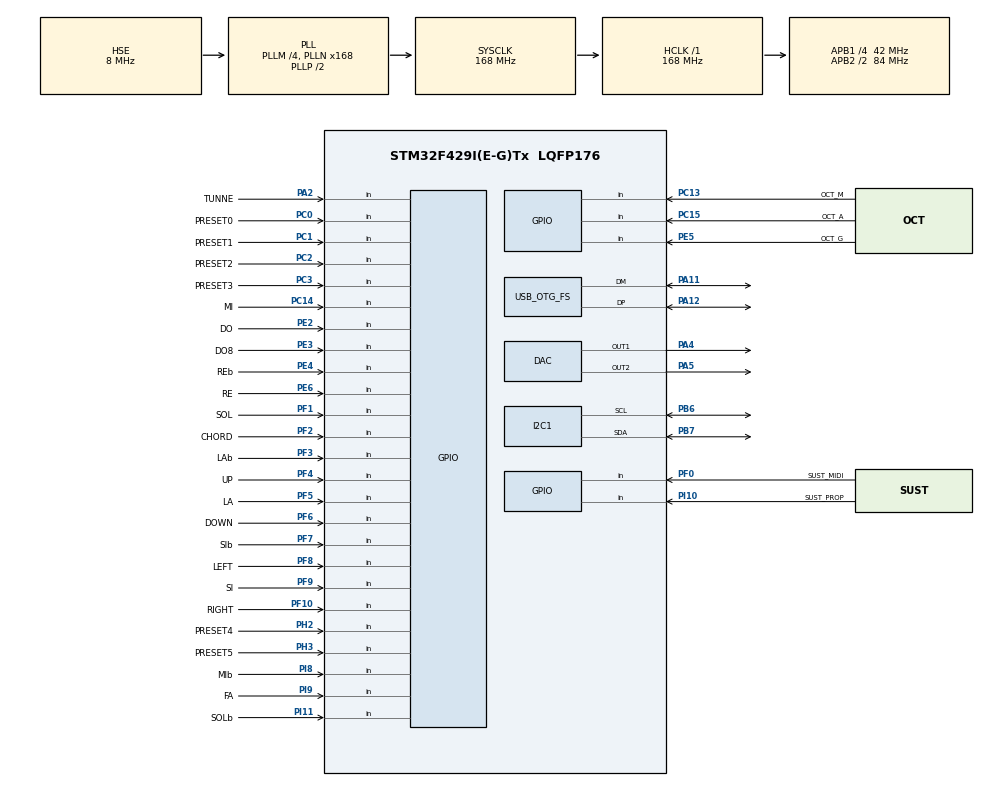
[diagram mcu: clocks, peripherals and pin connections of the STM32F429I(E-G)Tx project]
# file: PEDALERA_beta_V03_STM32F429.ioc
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I2C1.I2C_Mode=I2C_Fast
Mcu.Family=STM32F4
Mcu.Name=STM32F429I(E-G)Tx
Mcu.Package=LQFP176
Mcu.UserConstants=USE_USB_FS,1
NVIC.OTG_FS_IRQn=true\:0\:0\:false\:false\:true\:true\:true
NVIC.PriorityGroup=NVIC_PRIORITYGROUP_4
NVIC.TIM2_IRQn=true\:0\:0\:false\:false\:true\:true\:true
PA11.Mode=Device_Only
PA11.Signal=USB_OTG_FS_DM
PA12.Mode=Device_Only
PA12.Signal=USB_OTG_FS_DP
PA13.Mode=Serial_Wire
PA13.Signal=SYS_JTMS-SWDIO
PA14.Mode=Serial_Wire
PA14.Signal=SYS_JTCK-SWCLK
PA2.GPIO_Label=TUNNE
PA2.GPIO_PuPd=GPIO_PULLUP
PA2.Signal=GPIO_Input
PA4.Signal=COMP_DAC1_group
PA5.Signal=COMP_DAC2_group
PB6.Mode=I2C
PB6.Signal=I2C1_SCL
PB7.Mode=I2C
PB7.Signal=I2C1_SDA
PC0.GPIO_Label=PRESET0
PC0.GPIO_PuPd=GPIO_PULLUP
PC0.Signal=GPIO_Input
PC1.GPIO_Label=PRESET1
PC1.GPIO_PuPd=GPIO_PULLUP
PC1.Signal=GPIO_Input
PC13.GPIO_Label=OCT_M
PC13.GPIO_PuPd=GPIO_PULLUP
PC13.Signal=GPIO_Input
PC14/OSC32_IN.GPIO_Label=MI
PC14/OSC32_IN.GPIO_PuPd=GPIO_PULLUP
PC14/OSC32_IN.Signal=GPIO_Input
PC15/OSC32_OUT.GPIO_Label=OCT_A
PC15/OSC32_OUT.GPIO_PuPd=GPIO_PULLUP
PC15/OSC32_OUT.Signal=GPIO_Input
PC2.GPIO_Label=PRESET2
PC2.GPIO_PuPd=GPIO_PULLUP
PC2.Signal=GPIO_Input
PC3.GPIO_Label=PRESET3
PC3.GPIO_PuPd=GPIO_PULLUP
PC3.Signal=GPIO_Input
PE2.GPIO_Label=DO
PE2.GPIO_PuPd=GPIO_PULLUP
PE2.Signal=GPIO_Input
PE3.GPIO_Label=DO8
PE3.GPIO_PuPd=GPIO_PULLUP
PE3.Signal=GPIO_Input
PE4.GPIO_Label=REb
PE4.GPIO_PuPd=GPIO_PULLUP
PE4.Signal=GPIO_Input
PE5.GPIO_Label=OCT_G
PE5.GPIO_PuPd=GPIO_PULLUP
PE5.Signal=GPIO_Input
PE6.GPIO_Label=RE
PE6.GPIO_PuPd=GPIO_PULLUP
PE6.Signal=GPIO_Input
PF0.GPIO_Label=SUST_MIDI
PF0.GPIO_PuPd=GPIO_PULLUP
PF0.Signal=GPIO_Input
PF1.GPIO_Label=SOL
PF1.GPIO_PuPd=GPIO_PULLUP
PF1.Signal=GPIO_Input
PF10.GPIO_Label=RIGHT
PF10.GPIO_PuPd=GPIO_PULLUP
PF10.Signal=GPIO_Input
PF2.GPIO_Label=CHORD
PF2.GPIO_PuPd=GPIO_PULLUP
PF2.Signal=GPIO_Input
PF3.GPIO_Label=LAb
PF3.GPIO_PuPd=GPIO_PULLUP
PF3.Signal=GPIO_Input
PF4.GPIO_Label=UP
PF4.GPIO_PuPd=GPIO_PULLUP
PF4.Signal=GPIO_Input
PF5.GPIO_Label=LA
PF5.GPIO_PuPd=GPIO_PULLUP
PF5.Signal=GPIO_Input
PF6.GPIO_Label=DOWN
PF6.GPIO_PuPd=GPIO_PULLUP
PF6.Signal=GPIO_Input
PF7.GPIO_Label=SIb
PF7.GPIO_PuPd=GPIO_PULLUP
PF7.Signal=GPIO_Input
PF8.GPIO_Label=LEFT
PF8.GPIO_PuPd=GPIO_PULLUP
PF8.Signal=GPIO_Input
PF9.GPIO_Label=SI
PF9.GPIO_PuPd=GPIO_PULLUP
PF9.Signal=GPIO_Input
PH0/OSC_IN.Mode=HSE-External-Oscillator
PH0/OSC_IN.Signal=RCC_OSC_IN
PH1/OSC_OUT.Mode=HSE-External-Oscillator
PH1/OSC_OUT.Signal=RCC_OSC_OUT
PH2.GPIO_Label=PRESET4
PH2.GPIO_PuPd=GPIO_PULLUP
PH2.Signal=GPIO_Input
PH3.GPIO_Label=PRESET5
PH3.GPIO_PuPd=GPIO_PULLUP
PH3.Signal=GPIO_Input
PI10.GPIO_Label=SUST_PROP
PI10.GPIO_PuPd=GPIO_PULLUP
PI10.Signal=GPIO_Input
PI11.GPIO_Label=SOLb
PI11.GPIO_PuPd=GPIO_PULLUP
PI11.Signal=GPIO_Input
PI8.GPIO_Label=MIb
PI8.GPIO_PuPd=GPIO_PULLUP
PI8.Signal=GPIO_Input
PI9.GPIO_Label=FA
PI9.GPIO_PuPd=GPIO_PULLUP
PI9.Signal=GPIO_Input
ProjectManager.HeapSize=0x600
ProjectManager.StackSize=0x400
ProjectManager.TargetToolchain=STM32CubeIDE
RCC.48MHZClocksFreq_Value=48000000
RCC.AHBFreq_Value=168000000
RCC.APB1CLKDivider=RCC_HCLK_DIV4
RCC.APB1Freq_Value=42000000
RCC.APB1TimFreq_Value=84000000
RCC.APB2CLKDivider=RCC_HCLK_DIV2
RCC.APB2Freq_Value=84000000
RCC.APB2TimFreq_Value=168000000
RCC.CortexFreq_Value=168000000
RCC.HCLKFreq_Value=168000000
RCC.HSE_VALUE=8000000
RCC.HSI_VALUE=16000000
RCC.LSE_VALUE=32768
RCC.PLLM=4
RCC.PLLN=168
RCC.PLLQ=7
RCC.SYSCLKFreq_VALUE=168000000
RCC.SYSCLKSource=RCC_SYSCLKSOURCE_PLLCLK
RCC.VCOOutputFreq_Value=336000000
SH.COMP_DAC1_group.0=DAC_OUT1,DAC_OUT1
SH.COMP_DAC2_group.0=DAC_OUT2,DAC_OUT2
TIM2.Period=840-1
TIM2.Prescaler=100-1
USB_DEVICE.CLASS_NAME_FS=AUDIO
USB_DEVICE.CONFIGURATION_STRING_AUDIO_FS=MIDI Controller Config
USB_DEVICE.INTERFACE_STRING_AUDIO_FS=MIDI Controller Interface
USB_DEVICE.LANGID_STRING-AUDIO_FS=1040
USB_DEVICE.MANUFACTURER_STRING-AUDIO_FS=S&S Instrumentos
USB_DEVICE.PRODUCT_STRING_AUDIO_FS=S&S Instrumentos
USB_DEVICE.USBD_MAX_NUM_INTERFACES-AUDIO_FS=2
USB_DEVICE.VID-AUDIO_FS=2236
USB_DEVICE.VirtualMode-AUDIO_FS=Audio
USB_DEVICE.VirtualModeFS=Audio_FS
USB_OTG_FS.VirtualMode=Device_Only
VP_TIM2_VS_ClockSourceINT.Mode=Internal
VP_USB_DEVICE_VS_USB_DEVICE_AUDIO_FS.Mode=AUDIO_FS
board=custom

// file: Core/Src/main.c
/* USER CODE BEGIN Header */
/**
  ******************************************************************************
  * @file           : main.c
  * @brief          : Main program body
  ******************************************************************************
  * @attention
  *
  * <h2><center>&copy; Copyright (c) 2020 STMicroelectronics.
  * All rights reserved.</center></h2>
  *
  * This software component is licensed by ST under BSD 3-Clause license,
  * the "License"; You may not use this file except in compliance with the
  * License. You may obtain a copy of the License at:
  *                        opensource.org/licenses/BSD-3-Clause
  *
  ******************************************************************************
  */
/* USER CODE END Header */

#include "main.h"
#include "dac.h"
#include "i2c.h"
#include "tim.h"
#include "usb_device.h"
#include "gpio.h"

/* USER CODE BEGIN Includes */
#include "usbd_midi_if.h"
#include "SSpedalBPMFX.h"

#include "usbd_core.h"
/* USER CODE END Includes */

/* USER CODE BEGIN PTD */

typedef enum{
	NO_SCREEN,
	TURN_ON_SCREEN,
	PLEASE_WAIT_SCREEN,
	MAIN_SCREEN,
	CHORD_SCREEN,
	TUNNE_SCREEN,
	PRESET_SCREEN,
	RECUEST_FOOTKEY_SCREEN,
	POPUP_SAVED_CHORD,
	POPUP_OCTAVE,
	POPUP_SUSTAIN,
	POPUP_CANCEL,
}SCREEN_NUM;

typedef enum{
	NORMAL,
	SAVE_CHORD,
	SAVE_TUNNE,
}FOOTKEY_FUNC;

typedef enum{
	_DO,
	_REb,
	_RE,
	_MIb,
	_MI,
	_FA,
	_SOLb,
	_SOL,
	_LAb,
	_LA,
	_SIb,
	_SI,
	_DO8,
	_OCT_G,
	_OCT_M,
	_OCT_A,
	_SUST_PROP,
	_SUST_MIDI,
	_CHORD,
	_UP,
	_DOWN,
	_LEFT,
	_RIGHT,
	_ENTER,
	_PRESET0,
	_PRESET1,
	_PRESET2,
	_PRESET3,
	_PRESET4,
	_PRESET5,
	_TUNNE,
	STRUCT_LENGTH,
}BUTTON_T;

/* USER CODE END PTD */

/* USER CODE BEGIN PV */
unsigned long lastSendNote[] =  { 0,  0,  0,  0,  0,  0,  0,  0,  0,  0,  0,  0,  0};   // vector para apagar la ultima nota mandada por el pedal (salva el error del octavador)
unsigned long lastSustainNote = 0;		//

uint8_t sustainFlag = 1;   /// flag to switch on/off a sustained note.

uint8_t sustainMode = 0; // 0: none, 1: prop, 2: midi.

/*
const uint16_t buttonList[] = {_DO_Pin, _REb_Pin, _RE_Pin, _MIb_Pin, _MI_Pin, _FA_Pin, _SOLb_Pin, _SOL_Pin, _LAb_Pin, _LA_Pin,
						_SIb_Pin, _SI_Pin, _DO8_Pin, OCT_G_Pin, OCT_M_Pin, OCT_A_Pin, SUST_PROP_Pin, SUST_MIDI_Pin,
						CHORD_Pin, UP_Pin, DOWN_Pin, LEFT_Pin, RIGHT_Pin, _ENTER_Pin, PRESET0_Pin,
						PRESET1_Pin, PRESET2_Pin, PRESET3_Pin, PRESET4_Pin, PRESET5_Pin, TUNNE_Pin};
*/

const uint16_t cursorPin_list[] = {UP_Pin, DOWN_Pin, LEFT_Pin, RIGHT_Pin};
GPIO_TypeDef* cursorPort_list[] = {UP_GPIO_Port, DOWN_GPIO_Port, LEFT_GPIO_Port, RIGHT_GPIO_Port};

const uint16_t presetPin_list[] = {PRESET0_Pin, PRESET1_Pin, PRESET2_Pin,
									PRESET3_Pin, PRESET4_Pin, PRESET5_Pin};
GPIO_TypeDef* presetPort_list[] = {PRESET0_GPIO_Port, PRESET1_GPIO_Port, PRESET2_GPIO_Port,
									PRESET3_GPIO_Port, PRESET4_GPIO_Port, PRESET5_GPIO_Port};
const uint16_t notePin_list[] = {DO_Pin, REb_Pin, RE_Pin, MIb_Pin, MI_Pin, FA_Pin, SOLb_Pin,
								SOL_Pin, LAb_Pin, LA_Pin, SIb_Pin, SI_Pin, DO8_Pin};
GPIO_TypeDef* notePort_list[] = {DO_GPIO_Port, REb_GPIO_Port, RE_GPIO_Port, MIb_GPIO_Port, MI_GPIO_Port,
								FA_GPIO_Port, SOLb_GPIO_Port, SOL_GPIO_Port, LAb_GPIO_Port, LA_GPIO_Port,
								SIb_GPIO_Port, SI_GPIO_Port, DO8_GPIO_Port};

uint8_t buttonState [STRUCT_LENGTH];
uint8_t lastState [STRUCT_LENGTH];

uint32_t last_GPIOB_IDR = 0;

SCREEN_NUM menu = MAIN_SCREEN;

uint8_t presetLed = 0; // flag to manage the presets leds. 0 value is the first.

uint8_t acorde = 0;	// flag to switch on/off the chord mode

uint8_t tunne = 0;		// flag to switch on/off the tunne mode

unsigned int d_pad;  //las flechitas pulsadas: 0-ninguna, 1-arriba, 2-abajo, 3-izquierda, 4-derecha.

SCREEN_NUM screenNum = NO_SCREEN;	//flag to select the screen to display.
SCREEN_NUM last_screenNum = MAIN_SCREEN;	//flag to select the screen to display.

volatile int32_t popup_time = 0;
volatile uint8_t popup_timeUp = 0;

uint8_t lastKey_pos; // used to show the footkey possition in the "pop_up_savedChord()" function.

uint8_t generalState = 0; // global state machine variable.

FOOTKEY_FUNC footKey = NORMAL;

extern unsigned int   chordSelect_cursor;  //posicion del cursor en el menu de acordes.

extern int chord;

extern uint8_t firstDoTunning;

extern int chordInv;

extern int octava;

uint8_t midi_msg[4]; //midi frame to send over USB.

volatile uint32_t contador_loop = 0;

/* USER CODE END PV */

void SystemClock_Config(void);
/* USER CODE BEGIN PFP */

void inputCursor(void);
void inputSustains(void);
void inputChord(void);
void inputOctave(void);
void inputTunne(void);
void inputPresets(void);
void inputNotes(void);
void inputSaveChord(void);
void chordSelect(void);
void tunneSelect(void);
void sendChord(unsigned long, int, int);

/* USER CODE END PFP */

int main(void)
{

  /* MCU Configuration--------------------------------------------------------*/

  /* Reset of all peripherals, Initializes the Flash interface and the Systick. */
  HAL_Init();

  /* USER CODE BEGIN Init */
  firstDoTunning = 48;

  /* USER CODE END Init */

  /* Configure the system clock */
  SystemClock_Config();

  /* Initialize all configured peripherals */
  MX_GPIO_Init();
  MX_USB_DEVICE_Init();
  MX_DAC_Init();
  MX_I2C1_Init();
  MX_TIM2_Init();
  /* USER CODE BEGIN 2 */
  HAL_TIM_Base_Start_IT(&htim2);
  SSD1306_Init();
  __turnOnScreen();
  __mainScreen();

  /* USER CODE END 2 */

  /* Infinite loop */
  /* USER CODE BEGIN WHILE */
  while (1)
  {
	  	switch (screenNum){
	  		case MAIN_SCREEN:
	  			__mainScreen();
	  			last_screenNum = screenNum;
	  		break;
	  		case CHORD_SCREEN:
	  			__chordScreen();
	  			last_screenNum = screenNum;
	  		break;
	  		case TUNNE_SCREEN:
	  			__tunneScreen();
	  			last_screenNum = screenNum;
	  		break;
	  		case RECUEST_FOOTKEY_SCREEN:
	  			__recuest_footkey();
	  			last_screenNum = screenNum; //this variable must store the CHORD_SCREEN value, to use it as return point.
	  		break;
	  		case POPUP_OCTAVE:
	  			__on_off_octave();
	  			popup_time = 2000;
	  		break;
	  		case POPUP_SAVED_CHORD:
	  			__pop_up_savedChord(lastKey_pos);
	  			last_screenNum = CHORD_SCREEN;
	  			popup_time = 2000;
	  		break;
	  		case POPUP_SUSTAIN:
	  			__pop_up_sustain();
	  			popup_time = 2000;
	  		break;
	  		case POPUP_CANCEL:
	  			__pop_up_cancel();
	  			popup_time = 2000;
	  			last_screenNum = CHORD_SCREEN;
	  		break;
	  		default:
	  		break;
	  	}
	  	screenNum = NO_SCREEN;

	  	if (popup_timeUp){
	  		if (screenNum == NO_SCREEN) screenNum = last_screenNum;
	  		popup_timeUp = 0;
	  	}

	  	inputCursor();
	  	inputSustains();
	  	inputChord();
	  	inputOctave();
	  	inputTunne();
	  	inputPresets();

	  	/*
	  	switch (footKey){
	  		case NORMAL:

	  			inputNotes();

	  		break;
	  		case SAVE_CHORD:

	  			inputSaveChord();
	  		default:
	  		break;
	  	}
	  	*/

	    switch (menu){ //manage the recuested menu function.
	    	case MAIN_SCREEN:
	    		inputNotes();
	    	break;
	  		case CHORD_SCREEN:
	  			chordSelect();
	  			inputNotes();
	  		break;
	  		case TUNNE_SCREEN:
	  			tunneSelect();
	  			inputNotes();
	  		break;
	  		case RECUEST_FOOTKEY_SCREEN:
	  			inputSaveChord();
	  		default:
	  		break;

	    }
	    MIDI_SendCheck();

    /* USER CODE END WHILE */

  }
}

void SystemClock_Config(void)
{
  RCC_OscInitTypeDef RCC_OscInitStruct = {0};
  RCC_ClkInitTypeDef RCC_ClkInitStruct = {0};

  /** Configure the main internal regulator output voltage
  */
  __HAL_RCC_PWR_CLK_ENABLE();
  __HAL_PWR_VOLTAGESCALING_CONFIG(PWR_REGULATOR_VOLTAGE_SCALE1);
  /** Initializes the CPU, AHB and APB busses clocks
  */
  RCC_OscInitStruct.OscillatorType = RCC_OSCILLATORTYPE_HSE;
  RCC_OscInitStruct.HSEState = RCC_HSE_ON;
  RCC_OscInitStruct.PLL.PLLState = RCC_PLL_ON;
  RCC_OscInitStruct.PLL.PLLSource = RCC_PLLSOURCE_HSE;
  RCC_OscInitStruct.PLL.PLLM = 4;
  RCC_OscInitStruct.PLL.PLLN = 168;
  RCC_OscInitStruct.PLL.PLLP = RCC_PLLP_DIV2;
  RCC_OscInitStruct.PLL.PLLQ = 7;
  if (HAL_RCC_OscConfig(&RCC_OscInitStruct) != HAL_OK)
  {
    Error_Handler();
  }
  /** Initializes the CPU, AHB and APB busses clocks
  */
  RCC_ClkInitStruct.ClockType = RCC_CLOCKTYPE_HCLK|RCC_CLOCKTYPE_SYSCLK
                              |RCC_CLOCKTYPE_PCLK1|RCC_CLOCKTYPE_PCLK2;
  RCC_ClkInitStruct.SYSCLKSource = RCC_SYSCLKSOURCE_PLLCLK;
  RCC_ClkInitStruct.AHBCLKDivider = RCC_SYSCLK_DIV1;
  RCC_ClkInitStruct.APB1CLKDivider = RCC_HCLK_DIV4;
  RCC_ClkInitStruct.APB2CLKDivider = RCC_HCLK_DIV2;

  if (HAL_RCC_ClockConfig(&RCC_ClkInitStruct, FLASH_LATENCY_5) != HAL_OK)
  {
    Error_Handler();
  }
}

/* USER CODE BEGIN 4 */

void inputCursor(void){

	for (int i = 0; i < 4; i++){     //from the lowest CURSOR value, to the highest one.                                    // 4 presets en total.

	/*
	//BIT FIELD METHOD:
	buttonFlag = digitalRead(i + CURSOR_UP);

    //buttonState[1] = buttonFlag << (i + _UP);    //bit field method
	*/

	buttonState[i + _UP] = HAL_GPIO_ReadPin(cursorPort_list[i], cursorPin_list[i]);//digitalRead(i + CURSOR_UP);

    if(!buttonState[i + _UP] && lastState[i + _UP]){                                // If we read 0, and the last time we read 1, means button was just pressed

		d_pad = i + _UP;
        lastState[i + _UP] = buttonState[i + _UP];
		break;
    }else{
		d_pad = 0;
	}

    lastState[i + _UP] = buttonState[i + _UP];                                        // Update last button state.
  }
}

void inputSustains (void){

	buttonState[_SUST_PROP] = HAL_GPIO_ReadPin(SUST_PROP_GPIO_Port, SUST_PROP_Pin);

	if(!buttonState[_SUST_PROP] && lastState[_SUST_PROP]){

		for (int j = 0; j <= 12; j++){
			sendChord(lastSendNote[j], 0, 1); // silents all notes
		}

		switch (sustainMode){
			case 2:
				//event = {0x0B, 0xB0 | MIDI_CHANNEL, 64, 0};
				//MidiUSB.sendMIDI(event);
				midi_msg[0] = 0x0B; //0x0B == type event (control change)
				midi_msg[1] = 0xB0 | 1;
				midi_msg[2] = 64;	// 64 == sustain.
				midi_msg[3] = 0;
				MIDI_SendBuffer(midi_msg, 4);
			case 0:
				lastSustainNote = 0;
				sustainMode = 1; //prop
			break;

			case 1:
				sustainFlag = 1;
				sustainMode = 0;
			break;
		} //end switch

		screenNum = POPUP_SUSTAIN;
	}
	lastState[_SUST_PROP] = buttonState[_SUST_PROP];

	buttonState[_SUST_MIDI] = HAL_GPIO_ReadPin(SUST_MIDI_GPIO_Port, SUST_MIDI_Pin);

	if(!buttonState[_SUST_MIDI] && lastState[_SUST_MIDI]){

		switch (sustainMode){
			case 0:
			case 1:
				sustainFlag = 1;	// needed to normal notes functioning.
				//event = {0x0B, 0xB0 | MIDI_CHANNEL, 64, 127}; //64 == sustain.
				//MidiUSB.sendMIDI(event);
				midi_msg[0] = 0x0B;		//0x0B == type event (control change),
				midi_msg[1] = 0xB0 | 1;
				midi_msg[2] = 64;	//64 == sustain.
				midi_msg[3] = 127;
				MIDI_SendBuffer(midi_msg, 4);
				sustainMode = 2;
			break;
			case 2:
				//event = {0x0B, 0xB0 | MIDI_CHANNEL, 64, 0};
				//MidiUSB.sendMIDI(event);
				midi_msg[0] = 0x0B;	//0x0B == type event (control change)
				midi_msg[1] = 0xB0 | 1;
				midi_msg[2] = 64;	//64 == sustain.
				midi_msg[3] = 0;
				MIDI_SendBuffer(midi_msg, 4);
				sustainMode = 0;
			break;
		} //end switch

		screenNum = POPUP_SUSTAIN;
	}
	lastState[_SUST_MIDI] = buttonState[_SUST_MIDI];
}

void inputChord (void){

	buttonState[_CHORD] = HAL_GPIO_ReadPin(CHORD_GPIO_Port, CHORD_Pin);

	if(!buttonState[_CHORD] && lastState[_CHORD]){

      acorde = !acorde;

	  if (acorde){
		screenNum = CHORD_SCREEN;
		menu = CHORD_SCREEN;
	  }else{
		screenNum = MAIN_SCREEN;
		menu = MAIN_SCREEN;
	  }
	}
	/*
	if (acorde){
		chordSelect();
	}
*/
	lastState[_CHORD] = buttonState[_CHORD];
}

void inputOctave (void){

  buttonState[_OCT_G] = HAL_GPIO_ReadPin(OCT_G_GPIO_Port, OCT_G_Pin); //octava grave
  if(!buttonState[_OCT_G] && lastState[_OCT_G]){
      octava = -1;
	  screenNum=POPUP_OCTAVE;
  }

  lastState[_OCT_G] = buttonState[_OCT_G];

  buttonState[_OCT_M] = HAL_GPIO_ReadPin(OCT_M_GPIO_Port, OCT_M_Pin);//octava central
  if(!buttonState[_OCT_M] && lastState[_OCT_M]){
      octava = 0;
	  screenNum=POPUP_OCTAVE;
  }

  lastState[_OCT_M] = buttonState[_OCT_M];

  buttonState[_OCT_A] = HAL_GPIO_ReadPin(OCT_A_GPIO_Port, OCT_A_Pin);//octava aguda
  if(!buttonState[_OCT_A] && lastState[_OCT_A]){
      octava = 1;
      screenNum=POPUP_OCTAVE;
  }

  lastState[_OCT_A] = buttonState[_OCT_A];
}

void inputTunne(void){
  	buttonState[_TUNNE] = HAL_GPIO_ReadPin(TUNNE_GPIO_Port, TUNNE_Pin);

	if(!buttonState[_TUNNE] && lastState[_TUNNE]){
      tunne = !tunne;

	  if (tunne){
		screenNum = TUNNE_SCREEN;
		menu = TUNNE_SCREEN;
	  }else{
		screenNum = MAIN_SCREEN;
		menu = MAIN_SCREEN;
	  }
	}
	/*
	if (acorde){
		menu = TUNNE_SCREEN;
	}
*/
	lastState[_TUNNE] = buttonState[_TUNNE];
}

void inputPresets (void){

  for (int i = 0; i < 6; i++){                                         // 6 presets en total.

    buttonState[i + _PRESET0] = HAL_GPIO_ReadPin(presetPort_list[i], presetPin_list[i]);  //internal pullup

    if(!buttonState[i + _PRESET0] && lastState[i + _PRESET0]){                                // If we read 0, and the last time we read 1, means button was just pressed

        //MIDI.sendProgramChange(i - PRESET0, MIDI_CHANNEL);

		//event = {0x0C, 0xC0 | MIDI_CHANNEL, i, 0};
		//MidiUSB.sendMIDI(event);
		midi_msg[0] = 0x0C;	//0x0C == type event (program change)
		midi_msg[1] = 0xC0 | 1;
		midi_msg[2] = i;
		midi_msg[3] = 0;	//last param == 0 (unused in program change).
		MIDI_SendBuffer(midi_msg, 4);

    } //end if

    lastState[i + _PRESET0] = buttonState[i + _PRESET0];                                        // Update last button state.
  } //end for

} //end inputPresets

void inputNotes(void){

  for (int i = 0; i <= 12; i++){

    buttonState[i + _DO] = HAL_GPIO_ReadPin(notePort_list[i], notePin_list[i]);

    if(!buttonState[i + _DO] && lastState[i + _DO]){                                // If we read 1, and the last time we read 0, means button was just pressed

        if (acorde){
            lastSendNote[i] = makeChord(firstDoTunning + i + 12 * octava, i);

        }else{

            lastSendNote[i] = firstDoTunning + i + 12 * octava;
        }

        if (sustainMode == 1){

			if (lastSustainNote != lastSendNote[i]){

				sendChord(lastSustainNote, 0, 1);
				lastSustainNote = lastSendNote[i];
				sustainFlag = 1;

			}else{

				sustainFlag = !sustainFlag;

			}

        }

        sendChord(lastSendNote[i], 127 * sustainFlag, 1);

    }
    else if(buttonState[i] && !lastState[i]){                           // If we read 0, and the last time we read 1, means button was just released
        if (sustainMode != 1){
			sendChord(lastSendNote[i], 0, 1);           // 0 in second param meens "noteOff".
        }
    }

    lastState[i] = buttonState[i];                                        // Update last button state.
  }
}

void inputSaveChord(void){

uint8_t flag = 0;

	for (int i = 0; i <= 12; i++){

		buttonState[i + _DO] = HAL_GPIO_ReadPin(notePort_list[i], notePin_list[i]);

		if(!buttonState[i + _DO] && lastState[i + _DO]){       // If we read 1, and the last time we read 0, means button was just pressed

			//storing the selected chord:
			setChord(i);
			footKey = NORMAL;
			screenNum = POPUP_SAVED_CHORD;
			menu = CHORD_SCREEN; 				//return point to chordSelect().
			lastKey_pos = i; 					// to show in screen the foot key pressed.
			lastState[i] = buttonState[i];       // Update last button state.
			flag = 1;
			break; 								 //it must exit from function.
		}
		else if(buttonState[i] && !lastState[i]){                           // If we read 0, and the last time we read 1, means button was just released
			//POR AHORA NADA
		}
		lastState[i] = buttonState[i];                                        // Update last button state.
	}

	if (!flag){
		if (d_pad == _LEFT){
			footKey = NORMAL;
			screenNum = POPUP_CANCEL;
			menu = CHORD_SCREEN;
		}
	}
}

void chordSelect(void){

  uint8_t flag = 0;

  switch (chordSelect_cursor){

		case 0:

			switch (d_pad){
				case _DOWN:
					chordSelect_cursor++;
					flag = 1;
					break;
				case _LEFT:
					chord--;
					if (chord < 0)
						chord = 7;
					flag = 1;
					break;
				case _RIGHT:
					chord++;
					if (chord > 7)
						chord = 0;
					flag = 1;
					break;
			}
			break;
		case 1:

			switch (d_pad){
				case _UP:
					chordSelect_cursor--;
					flag = 1;
					break;
				case _DOWN:
					chordSelect_cursor++;
					flag = 1;
					break;
				case _LEFT:
					chordInv--;
					if (chordInv < 0)
						chordInv = 2;
					flag = 1;
					break;
				case _RIGHT:
					chordInv++;
					if (chordInv > 2)
						chordInv = 0;
					flag = 1;
					break;
			}
			break;
		case 2:

			switch (d_pad){
				case _UP:
					chordSelect_cursor--;
					flag = 1;
					break;
				case _RIGHT:
					footKey = SAVE_CHORD; //
					menu = RECUEST_FOOTKEY_SCREEN;
					screenNum = RECUEST_FOOTKEY_SCREEN;
					break;
			}
			break;
	}

  if (flag){        ///flag de impresion

      screenNum = CHORD_SCREEN;
  }
}

void tunneSelect(void){
	uint8_t flag = 0;

	switch (d_pad){
		case _RIGHT:
			firstDoTunning++;
			if (firstDoTunning >59)
				firstDoTunning = 48;
			flag = 1;
			break;
		case _LEFT:
			firstDoTunning--;
			if (firstDoTunning < 48)
				firstDoTunning = 59;
			flag = 1;
			break;
	}

	if (flag){
		screenNum = TUNNE_SCREEN;
	}
}

void sendChord(unsigned long bnotes, int velocity, int channel){

  uint8_t note1;
  uint8_t note2;
  uint8_t note3;

  note1 = (bnotes & 0x7f);
  note2 = (bnotes >> 8) & 0x7f;
  note3 = (bnotes >> 16) & 0x7f;

  midi_msg[0] = 0x09;	//0x09 == type event (noteOn).
  midi_msg[1] = 0x90 | 1;
  midi_msg[2] = note1;
  midi_msg[3] = velocity;
  MIDI_SendBuffer(midi_msg, 4);

  if (note2 && note3){

	  midi_msg[0] = 0x09;	//0x09 == type event (noteOn).
	  midi_msg[1] = 0x90 | 1;
	  midi_msg[2] = note2;
	  midi_msg[3] = velocity;
	  MIDI_SendBuffer(midi_msg, 4);

	  midi_msg[0] = 0x09;	//0x09 == type event (noteOn).
	  midi_msg[1] = 0x90 | 1;
	  midi_msg[2] = note3;
	  midi_msg[3] = velocity;
	  MIDI_SendBuffer(midi_msg, 4);
  }
}

void HAL_TIM_PeriodElapsedCallback(TIM_HandleTypeDef *htim){
	if (popup_time != 0){
		popup_time--;
		if (popup_time == 1) popup_timeUp = 1;
	}

	contador_loop = 0;
}

/* USER CODE END 4 */

void Error_Handler(void)
{
}

/************************ (C) COPYRIGHT STMicroelectronics *****END OF FILE****/
